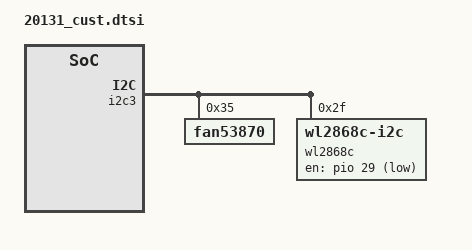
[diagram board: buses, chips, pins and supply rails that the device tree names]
/*#ifdef VENDOE_EDIT*/
&i2c3 {
        fan53870@35 {
                compatible = "fan53870";
                reg = <0x35>;
                ldo1_min_vol = <800000>;  /*uV*/
                ldo1_max_vol = <1504000>;
                ldo1_step_vol = <8000>;
        };
        wl2868c@2f {
                compatible = "wl2868c-i2c";
                reg = <0x2f>;
                id_reg = <0x00>;
                id_val = <0x82>;
                vin1_vol = <800000>;
                vin2_vol = <1504000>;
                en-gpios = <&pio 29 1>;
        };
};
/*#endif*/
